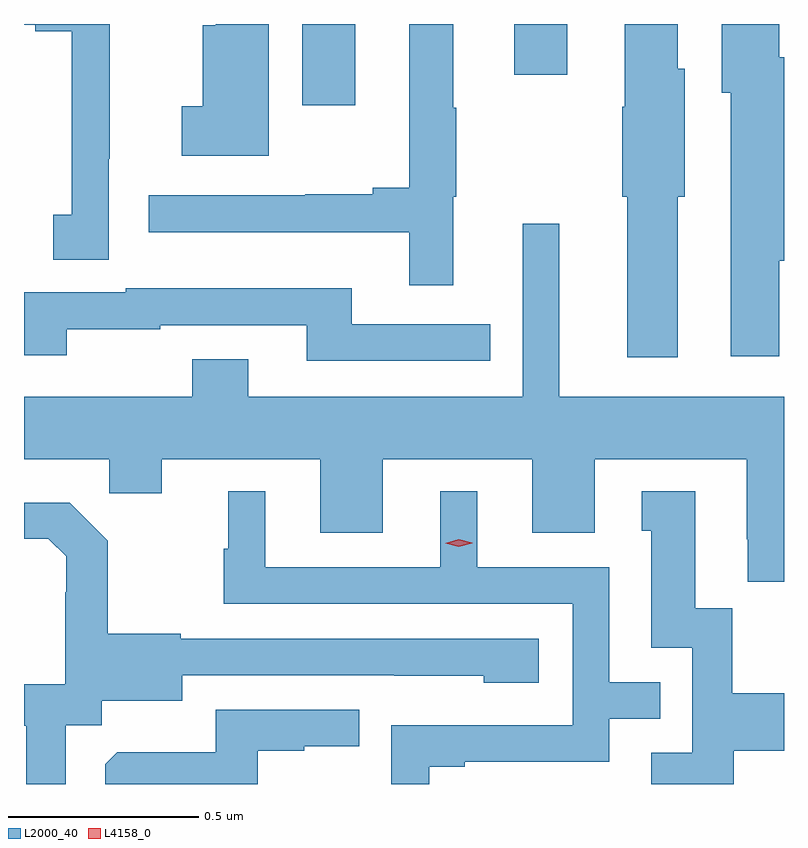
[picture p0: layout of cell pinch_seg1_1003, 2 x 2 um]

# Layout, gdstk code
import gdstk
lib = gdstk.Library(unit=1e-6, precision=1e-09)
def R(c, l, rs):  # rectangles x0, y0, x1, y1
    for r in rs: c.add(gdstk.rectangle(r[:2], r[2:], *l))
def P(c, l, *ps):  # polygons
    for p in ps: c.add(gdstk.Polygon(p, *l))
L2000_40 = (2000, 40)
L4158_0 = (4158, 0)

pinch_seg1_1003 = lib.new_cell('pinch_seg1_1003')
R(pinch_seg1_1003, L2000_40, [(338.321,534.015,338.461,534.229), (338.879,534.096,339.019,534.229)])
P(pinch_seg1_1003, L2000_40, [(337.812,533.875),(337.815,533.875),(337.815,534.229),(337.589,534.229),(337.589,534.227),(337.619,534.227),(337.619,534.21),(337.715,534.21),(337.715,533.727),(337.666,533.727),(337.666,533.608),(337.812,533.608)],
  [(339.31,533.775),(339.328,533.775),(339.328,534.111),(339.31,534.111),(339.31,534.229),(339.17,534.229),(339.17,534.011),(339.163,534.011),(339.163,533.775),(339.176,533.775),(339.176,533.352),(339.31,533.352)],
  [(338.719,533.775),(338.727,533.775),(338.727,534.008),(338.719,534.008),(338.719,534.229),(338.603,534.229),(338.603,533.798),(338.507,533.798),(338.507,533.781),(338.329,533.781),(338.329,533.778),(337.917,533.778),(337.917,533.681),(338.603,533.681),(338.603,533.541),(338.719,533.541)],
  [(338.233,534.229),(338.093,534.229),(338.093,534.226),(338.06,534.226),(338.06,534.012),(338.004,534.012),(338.004,533.882),(338.233,533.882)],
  [(339.577,533.606),(339.589,533.606),(339.589,534.141),(339.577,534.141),(339.577,534.229),(339.425,534.229),(339.425,534.048),(339.449,534.048),(339.449,533.355),(339.577,533.355)],
  [(339.589,533.248),(338.998,533.248),(338.998,533.704),(338.901,533.704),(338.901,533.248),(338.179,533.248),(338.179,533.347),(338.032,533.347),(338.032,533.248),(337.589,533.248),(337.589,533.084),(337.813,533.084),(337.813,532.994),(337.951,532.994),(337.951,533.084),(338.369,533.084),(338.369,532.89),(338.533,532.89),(338.533,533.084),(338.927,533.084),(338.927,532.89),(339.091,532.89),(339.091,533.084),(339.491,533.084),(339.491,532.873),(339.494,532.873),(339.494,532.761),(339.589,532.761)],
  [(338.816,533.439),(338.452,533.439),(338.452,533.533),(337.857,533.533),(337.857,533.523),(337.589,533.523),(337.589,533.357),(337.701,533.357),(337.701,533.426),(337.947,533.426),(337.947,533.436),(338.333,533.436),(338.333,533.343),(338.816,533.343)],
  [(338.655,532.275),(338.749,532.275),(338.749,532.287),(339.129,532.287),(339.129,532.401),(339.263,532.401),(339.263,532.497),(339.129,532.497),(339.129,532.8),(338.782,532.8),(338.782,532.999),(338.684,532.999),(338.684,532.8),(338.224,532.8),(338.224,532.999),(338.126,532.999),(338.126,532.848),(338.115,532.848),(338.115,532.704),(339.033,532.704),(339.033,532.383),(338.556,532.383),(338.556,532.229),(338.655,532.229)],
  [(339.457,532.316),(339.589,532.316),(339.589,532.468),(339.453,532.468),(339.453,532.691),(339.355,532.691),(339.355,532.999),(339.215,532.999),(339.215,532.896),(339.239,532.896),(339.239,532.587),(339.348,532.587),(339.348,532.311),(339.239,532.311),(339.239,532.229),(339.457,532.229)],
  [(337.699,532.384),(337.794,532.384),(337.794,532.448),(338.005,532.448),(338.005,532.515),(338.563,532.515),(338.563,532.514),(338.799,532.514),(338.799,532.496),(338.944,532.496),(338.944,532.611),(338.001,532.611),(338.001,532.624),(337.809,532.624),(337.809,532.869),(337.709,532.969),(337.589,532.969),(337.589,532.875),(337.653,532.875),(337.7,532.828),(337.7,532.733),(337.698,532.733),(337.698,532.492),(337.589,532.492),(337.589,532.382),(337.595,532.382),(337.595,532.229),(337.699,532.229)],
  [(338.204,532.317),(338.327,532.317),(338.327,532.328),(338.471,532.328),(338.471,532.425),(338.094,532.425),(338.094,532.313),(337.835,532.313),(337.803,532.281),(337.803,532.229),(338.204,532.229)])
P(pinch_seg1_1003, L4158_0, [(338.733,532.853),(338.697,532.862),(338.697,532.862),(338.697,532.862),(338.733,532.873),(338.769,532.864),(338.769,532.863),(338.769,532.863)])

lib.write_gds('pinch_seg1_1003.gds')
